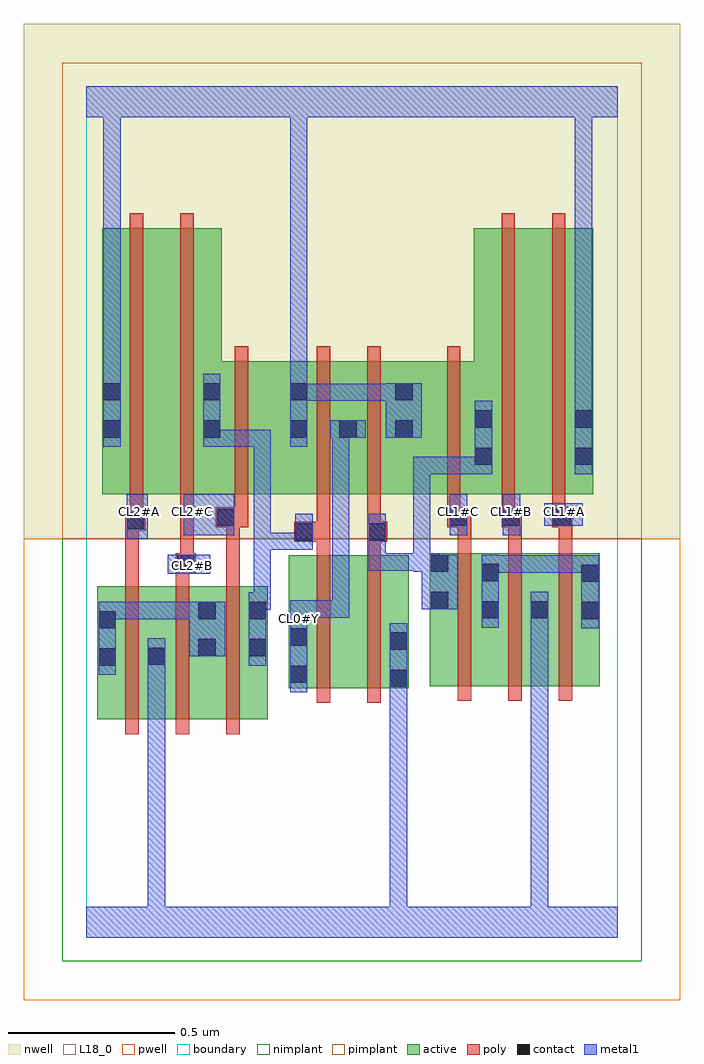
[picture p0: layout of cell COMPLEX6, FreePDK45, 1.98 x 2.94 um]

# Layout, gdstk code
import gdstk
lib = gdstk.Library(unit=1e-6, precision=1e-09)
def R(c, l, rs):  # rectangles x0, y0, x1, y1
    for r in rs: c.add(gdstk.rectangle(r[:2], r[2:], *l))
def A(c, l, x, y, w, h, nx, ny, dx, dy):  # array of equal rectangles
    R(c, l, [(x+i*dx, y+j*dy, x+i*dx+w, y+j*dy+h) for i in range(nx) for j in range(ny)])
active = (1, 0)
pwell = (2, 0)
nwell = (3, 0)
nimplant = (4, 0)
pimplant = (5, 0)
poly = (9, 0)
contact = (10, 0)
metal1 = (11, 0)
L18_0 = (18, 0)
boundary = (235, 0)

complex6 = lib.new_cell('COMPLEX6')
R(complex6, active, [(0.034,0.656,0.242,1.056), (0.182,0.656,0.394,1.056), (0.334,0.656,0.546,1.056), (0.61,0.75,0.67,1.15), (0.61,0.75,0.79,1.15), (0.79,0.75,0.97,1.15), (0.91,0.75,0.97,1.15), (0.034,0.756,0.094,1.056), (0.182,0.756,0.242,0.902), (0.334,0.756,0.394,1.056), (0.486,0.756,0.546,1.056), (1.034,0.756,1.094,1.156), (1.034,0.756,1.246,1.156), (1.186,0.756,1.394,1.156), (1.186,0.756,1.246,1.144), (1.334,0.756,1.546,1.156), (1.334,0.756,1.394,1.034), (1.486,0.756,1.546,1.156), (0.048,1.334,0.108,2.134), (0.048,1.334,0.228,2.134), (0.228,1.334,0.408,2.134), (0.348,1.334,0.67,1.734), (0.61,1.334,0.67,1.734), (0.61,1.334,0.818,1.734), (0.758,1.334,0.986,1.734), (0.926,1.334,0.986,1.734), (0.926,1.334,1.226,1.734), (1.166,1.334,1.346,2.134), (1.346,1.334,1.526,2.134), (1.466,1.334,1.526,2.134), (1.166,1.418,1.226,1.644), (0.348,1.472,0.408,1.816), (0.758,1.5,0.818,1.644)])
R(complex6, pwell, [(-0.188,-0.188,1.788,1.2)])
R(complex6, nwell, [(-0.188,1.2,1.788,2.748)])
R(complex6, nimplant, [(-0.072,-0.072,1.672,1.2)])
R(complex6, pimplant, [(-0.072,1.2,1.672,2.632)])
A(complex6, poly, 0.118, 0.612, 0.04, 0.488, 3, 1, 0.152, 0)
A(complex6, poly, 1.118, 0.712, 0.04, 0.488, 3, 1, 0.152, 0)
A(complex6, poly, 1.118, 1.16, 0.04, 0.114, 3, 1, 0.152, 0)
R(complex6, poly, [(0.694,0.706,0.734,1.194), (0.846,0.706,0.886,1.194), (0.118,1.06,0.158,1.264), (0.27,1.06,0.31,1.136), (0.422,1.06,0.462,1.274), (0.27,1.096,0.33,1.156), (0.284,1.116,0.324,1.156), (0.284,1.116,0.324,1.156), (0.284,1.116,0.324,1.33), (0.694,1.154,0.734,1.23), (0.846,1.154,0.886,1.23), (0.626,1.19,0.734,1.25), (0.694,1.19,0.734,1.23), (0.694,1.19,0.734,1.23), (0.846,1.19,0.906,1.25), (0.694,1.21,0.734,1.33), (0.846,1.21,0.886,1.25), (0.846,1.21,0.886,1.25), (0.846,1.21,0.886,1.33), (0.118,1.224,0.178,1.284), (0.39,1.234,0.488,1.294), (0.422,1.234,0.462,1.274), (0.422,1.234,0.462,1.274), (1.086,1.234,1.15,1.294), (1.11,1.234,1.15,1.274), (1.11,1.234,1.158,1.274), (1.25,1.234,1.31,1.294), (1.27,1.234,1.31,1.274), (1.27,1.234,1.31,1.274), (1.402,1.234,1.462,1.294), (1.422,1.234,1.462,1.274), (1.422,1.234,1.462,1.274), (0.132,1.244,0.172,1.284), (0.132,1.244,0.172,1.284), (0.132,1.244,0.172,1.33), (0.448,1.254,0.488,1.33), (1.086,1.254,1.126,1.33), (1.25,1.254,1.29,1.33), (1.402,1.254,1.442,1.33), (0.132,1.29,0.172,2.178), (0.284,1.29,0.324,2.178), (0.448,1.29,0.488,1.778), (0.694,1.29,0.734,1.778), (0.846,1.29,0.886,1.778), (1.086,1.29,1.126,1.778), (1.25,1.29,1.29,2.178), (1.402,1.29,1.442,2.178)])
R(complex6, contact, [(0.914,0.754,0.966,0.806), (0.614,0.766,0.666,0.818), (0.038,0.818,0.09,0.87), (0.186,0.82,0.238,0.872), (0.338,0.846,0.39,0.898), (0.49,0.846,0.542,0.898), (0.914,0.866,0.966,0.918), (0.614,0.878,0.666,0.93), (0.038,0.93,0.09,0.982), (0.338,0.958,0.39,1.01), (0.49,0.958,0.542,1.01), (1.49,0.958,1.542,1.01), (1.19,0.96,1.242,1.012), (1.338,0.96,1.39,1.012), (1.038,0.988,1.09,1.04), (1.49,1.07,1.542,1.122), (1.19,1.072,1.242,1.124), (0.274,1.1,0.326,1.152), (1.038,1.1,1.09,1.152), (0.63,1.194,0.682,1.246), (0.85,1.194,0.902,1.246), (0.122,1.228,0.174,1.28), (0.394,1.238,0.446,1.29), (1.094,1.238,1.146,1.29), (1.254,1.238,1.306,1.29), (1.406,1.238,1.458,1.29), (1.17,1.422,1.222,1.474), (1.47,1.422,1.522,1.474), (0.052,1.504,0.104,1.556), (0.352,1.504,0.404,1.556), (0.614,1.504,0.666,1.556), (0.762,1.504,0.814,1.556), (0.93,1.504,0.982,1.556), (1.17,1.534,1.222,1.586), (1.47,1.534,1.522,1.586), (0.052,1.616,0.104,1.668), (0.352,1.616,0.404,1.668), (0.614,1.616,0.666,1.668), (0.93,1.616,0.982,1.668)])
R(complex6, metal1, [(0,0,1.6,0.092), (0.186,0.04,0.238,0.092), (0.186,0.04,0.238,0.092), (0.186,0.04,0.238,0.092), (0.186,0.04,0.238,0.092), (0.186,0.04,0.238,0.092), (0.186,0.04,0.238,0.092), (0.186,0.04,0.238,0.092), (0.186,0.04,0.238,0.092), (0.186,0.04,0.238,0.092), (0.186,0.04,0.238,0.092), (0.186,0.04,0.238,0.092), (0.186,0.04,0.238,0.092), (0.186,0.04,0.238,0.844), (0.914,0.04,0.966,0.092), (0.914,0.04,0.966,0.092), (0.914,0.04,0.966,0.092), (0.914,0.04,0.966,0.092), (0.914,0.04,0.966,0.092), (0.914,0.04,0.966,0.092), (0.914,0.04,0.966,0.092), (0.914,0.04,0.966,0.092), (0.914,0.04,0.966,0.092), (0.914,0.04,0.966,0.092), (0.914,0.04,0.966,0.778), (1.338,0.04,1.39,0.092), (1.338,0.04,1.39,0.092), (1.338,0.04,1.39,0.092), (1.338,0.04,1.39,0.092), (1.338,0.04,1.39,0.092), (1.338,0.04,1.39,0.092), (1.338,0.04,1.39,0.092), (1.338,0.04,1.39,0.092), (1.338,0.04,1.39,0.092), (1.338,0.04,1.39,0.092), (1.338,0.04,1.39,0.092), (1.338,0.04,1.39,0.092), (1.338,0.04,1.39,0.984), (0.914,0.726,0.966,0.778), (0.914,0.726,0.966,0.778), (0.914,0.726,0.966,0.946), (0.614,0.738,0.666,0.958), (0.038,0.79,0.09,1.01), (0.186,0.792,0.238,0.9), (0.49,0.818,0.542,1.038), (0.31,0.846,0.418,1.01), (0.614,0.906,0.666,0.958), (0.614,0.906,0.666,1.014), (1.49,0.93,1.542,1.15), (1.19,0.932,1.242,1.152), (1.338,0.932,1.39,1.04), (0.038,0.958,0.09,1.01), (0.038,0.958,0.09,1.01), (0.038,0.958,0.236,1.01), (0.184,0.958,0.236,1.01), (0.184,0.958,0.236,1.01), (0.184,0.958,0.236,1.01), (0.184,0.958,0.362,1.01), (0.614,0.962,0.792,1.014), (0.74,0.962,0.792,1.014), (0.74,0.962,0.792,1.014), (0.74,0.962,0.792,1.014), (0.74,0.962,0.792,1.556), (0.49,0.986,0.542,1.038), (0.49,0.986,0.556,1.038), (0.504,0.986,0.556,1.218), (1.01,0.988,1.118,1.152), (0.246,1.094,0.374,1.152), (1.19,1.098,1.242,1.15), (1.19,1.098,1.242,1.15), (1.19,1.098,1.352,1.15), (1.3,1.098,1.352,1.15), (1.3,1.098,1.542,1.15), (1.49,1.098,1.542,1.15), (1.49,1.098,1.542,1.15), (0.984,1.1,1.062,1.156), (1.01,1.1,1.062,1.152), (0.85,1.104,1.036,1.156), (0.85,1.104,0.902,1.218), (0.984,1.104,1.036,1.156), (0.984,1.104,1.036,1.156), (0.984,1.104,1.036,1.446), (0.504,1.166,0.556,1.218), (0.504,1.166,0.556,1.218), (0.504,1.166,0.556,1.218), (0.504,1.166,0.682,1.218), (0.504,1.166,0.556,1.528), (0.63,1.166,0.682,1.274), (0.85,1.166,0.902,1.218), (0.85,1.166,0.902,1.274), (0.122,1.2,0.186,1.334), (0.294,1.21,0.446,1.334), (1.094,1.21,1.146,1.334), (1.254,1.21,1.306,1.334), (1.378,1.238,1.494,1.306), (0.984,1.394,1.036,1.446), (0.984,1.394,1.036,1.446), (0.984,1.394,1.036,1.446), (0.984,1.394,1.222,1.446), (1.17,1.394,1.222,1.614), (1.47,1.394,1.522,1.614), (0.052,1.476,0.104,1.696), (0.352,1.476,0.404,1.528), (0.352,1.476,0.404,1.528), (0.352,1.476,0.404,1.696), (0.352,1.476,0.556,1.528), (0.504,1.476,0.556,1.528), (0.614,1.476,0.666,1.696), (0.734,1.504,0.842,1.556), (0.74,1.504,0.792,1.556), (0.74,1.504,0.792,1.556), (0.902,1.504,1.01,1.668), (1.47,1.562,1.522,2.52), (0.614,1.614,0.792,1.666), (0.74,1.614,0.792,1.666), (0.74,1.614,0.792,1.666), (0.74,1.614,0.792,1.666), (0.74,1.614,0.902,1.666), (0.85,1.614,0.902,1.666), (0.85,1.614,0.954,1.666), (0.052,1.644,0.104,2.52), (0.614,1.644,0.666,2.52), (0,2.468,1.6,2.56), (0.052,2.468,0.104,2.52), (0.052,2.468,0.104,2.52), (0.052,2.468,0.104,2.52), (0.052,2.468,0.104,2.52), (0.052,2.468,0.104,2.52), (0.052,2.468,0.104,2.52), (0.052,2.468,0.104,2.52), (0.052,2.468,0.104,2.52), (0.614,2.468,0.666,2.52), (0.614,2.468,0.666,2.52), (0.614,2.468,0.666,2.52), (0.614,2.468,0.666,2.52), (0.614,2.468,0.666,2.52), (0.614,2.468,0.666,2.52), (0.614,2.468,0.666,2.52), (0.614,2.468,0.666,2.52), (0.614,2.468,0.666,2.52), (0.614,2.468,0.666,2.52), (0.614,2.468,0.666,2.52), (0.614,2.468,0.666,2.52), (0.614,2.468,0.666,2.52), (0.614,2.468,0.666,2.52), (0.614,2.468,0.666,2.52), (0.614,2.468,0.666,2.52), (1.47,2.468,1.522,2.52), (1.47,2.468,1.522,2.52), (1.47,2.468,1.522,2.52), (1.47,2.468,1.522,2.52), (1.47,2.468,1.522,2.52), (1.47,2.468,1.522,2.52), (1.47,2.468,1.522,2.52), (1.47,2.468,1.522,2.52)])
A(complex6, L18_0, 1.094, 1.254, 0.052, 0.052, 3, 1, 0.16, 0)
R(complex6, L18_0, [(0,0,1.6,0.092), (0.186,0.04,0.238,0.092), (0.186,0.04,0.238,0.092), (0.186,0.04,0.238,0.092), (0.186,0.04,0.238,0.092), (0.186,0.04,0.238,0.092), (0.186,0.04,0.238,0.092), (0.186,0.04,0.238,0.092), (0.186,0.04,0.238,0.092), (0.186,0.04,0.238,0.092), (0.186,0.04,0.238,0.092), (0.186,0.04,0.238,0.092), (0.186,0.04,0.238,0.092), (0.186,0.04,0.238,0.844), (0.914,0.04,0.966,0.092), (0.914,0.04,0.966,0.092), (0.914,0.04,0.966,0.092), (0.914,0.04,0.966,0.092), (0.914,0.04,0.966,0.092), (0.914,0.04,0.966,0.092), (0.914,0.04,0.966,0.092), (0.914,0.04,0.966,0.092), (0.914,0.04,0.966,0.092), (0.914,0.04,0.966,0.092), (0.914,0.04,0.966,0.778), (1.338,0.04,1.39,0.092), (1.338,0.04,1.39,0.092), (1.338,0.04,1.39,0.092), (1.338,0.04,1.39,0.092), (1.338,0.04,1.39,0.092), (1.338,0.04,1.39,0.092), (1.338,0.04,1.39,0.092), (1.338,0.04,1.39,0.092), (1.338,0.04,1.39,0.092), (1.338,0.04,1.39,0.092), (1.338,0.04,1.39,0.092), (1.338,0.04,1.39,0.092), (1.338,0.04,1.39,0.984), (0.914,0.726,0.966,0.946), (0.914,0.726,0.966,0.778), (0.914,0.726,0.966,0.778), (0.614,0.738,0.666,0.958), (0.186,0.792,0.238,0.9), (0.614,0.906,0.666,0.958), (0.614,0.906,0.666,1.014), (1.338,0.932,1.39,1.04), (0.614,0.934,0.666,0.986), (0.614,0.962,0.792,1.014), (0.74,0.962,0.792,1.014), (0.74,0.962,0.792,1.014), (0.74,0.962,0.792,1.014), (0.74,0.962,0.792,1.556), (0.246,1.094,0.374,1.152), (0.294,1.094,0.346,1.146), (0.122,1.2,0.186,1.334), (0.294,1.21,0.446,1.334), (1.094,1.21,1.146,1.334), (1.254,1.21,1.306,1.334), (1.378,1.238,1.494,1.306), (0.134,1.254,0.186,1.306), (0.294,1.254,0.346,1.306), (1.47,1.394,1.522,1.614), (0.052,1.476,0.104,1.696), (0.614,1.476,0.666,1.696), (0.734,1.504,0.842,1.556), (0.74,1.504,0.792,1.556), (0.74,1.504,0.792,1.556), (0.902,1.504,1.01,1.668), (1.47,1.562,1.522,2.52), (0.614,1.614,0.792,1.666), (0.74,1.614,0.792,1.666), (0.74,1.614,0.792,1.666), (0.74,1.614,0.792,1.666), (0.74,1.614,0.902,1.666), (0.85,1.614,0.902,1.666), (0.85,1.614,0.954,1.666), (0.052,1.644,0.104,2.52), (0.614,1.644,0.666,2.52), (0,2.468,1.6,2.56), (0.052,2.468,0.104,2.52), (0.052,2.468,0.104,2.52), (0.052,2.468,0.104,2.52), (0.052,2.468,0.104,2.52), (0.052,2.468,0.104,2.52), (0.052,2.468,0.104,2.52), (0.052,2.468,0.104,2.52), (0.052,2.468,0.104,2.52), (0.614,2.468,0.666,2.52), (0.614,2.468,0.666,2.52), (0.614,2.468,0.666,2.52), (0.614,2.468,0.666,2.52), (0.614,2.468,0.666,2.52), (0.614,2.468,0.666,2.52), (0.614,2.468,0.666,2.52), (0.614,2.468,0.666,2.52), (0.614,2.468,0.666,2.52), (0.614,2.468,0.666,2.52), (0.614,2.468,0.666,2.52), (0.614,2.468,0.666,2.52), (0.614,2.468,0.666,2.52), (0.614,2.468,0.666,2.52), (0.614,2.468,0.666,2.52), (0.614,2.468,0.666,2.52), (1.47,2.468,1.522,2.52), (1.47,2.468,1.522,2.52), (1.47,2.468,1.522,2.52), (1.47,2.468,1.522,2.52), (1.47,2.468,1.522,2.52), (1.47,2.468,1.522,2.52), (1.47,2.468,1.522,2.52), (1.47,2.468,1.522,2.52)])
R(complex6, boundary, [(0,0,1.6,2.56)])
complex6.add(gdstk.Label('CL0#Y', (0.64,0.96), layer=11, texttype=0))
complex6.add(gdstk.Label('CL1#A', (1.44,1.28), layer=11, texttype=0))
complex6.add(gdstk.Label('CL1#B', (1.28,1.28), layer=11, texttype=0))
complex6.add(gdstk.Label('CL1#C', (1.12,1.28), layer=11, texttype=0))
complex6.add(gdstk.Label('CL2#A', (0.16,1.28), layer=11, texttype=0))
complex6.add(gdstk.Label('CL2#B', (0.32,1.12), layer=11, texttype=0))
complex6.add(gdstk.Label('CL2#C', (0.32,1.28), layer=11, texttype=0))

lib.write_gds('COMPLEX6.gds')
